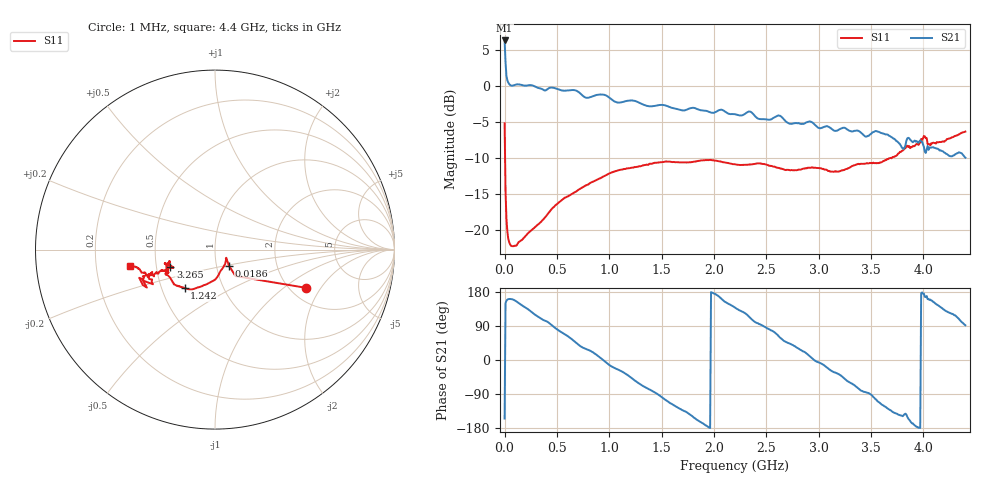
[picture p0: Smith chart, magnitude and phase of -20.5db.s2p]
# HZ S RI R 50
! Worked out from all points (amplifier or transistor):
!   501 points, 1 MHz to 4.4 GHz, reference 50 ohm
!   highest |S21| = 6.3 dB at 1 MHz (marker M1)
!   |S21| within 3 dB of that: start of sweep to 9.723 MHz
!   S11 on the Smith chart (normalised r, x): 1 MHz: 2.43, -1.49; 18.6 MHz: 1.15, -0.21; 1.242 GHz: 0.65, -0.30; 3.265 GHz: 0.59, -0.12; 4.4 GHz: 0.35, -0.08
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1000000  0.5088 -0.2133  -1.868 -0.8973  0 0  0 0
1.8596e7  0.0787 -0.0904  -1.078 0.4718  0 0  0 0
2.7394e7  0.0698 -0.0679  -1.024 0.3856  0 0  0 0
8.0182e7  0.0626 -0.0456  -0.9442 0.3512  0 0  0 0
2.73738e8  0.0519 -0.0881  -0.5511 0.8417  0 0  0 0
4.409e8  0.0229 -0.1354  -0.0704 0.973  0 0  0 0
6.25658e8  -0.0115 -0.1744  0.4908 0.7987  0 0  0 0
7.40032e8  -0.0446 -0.192  0.7187 0.4828  0 0  0 0
9.51184e8  -0.1023 -0.2137  0.8692 -0.033  0 0  0 0
1.241518e9  -0.1698 -0.2152  0.4686 -0.6358  0 0  0 0
1.470266e9  -0.2186 -0.1977  -0.0216 -0.7365  0 0  0 0
1.822186e9  -0.2623 -0.1439  -0.6342 -0.3003  0 0  0 0
2.050934e9  -0.2731 -0.1242  -0.6633 0.1567  0 0  0 0
2.2005e9  -0.27 -0.095  -0.4752 0.4252  0 0  0 0
2.358864e9  -0.2766 -0.0741  -0.196 0.6261  0 0  0 0
2.59641e9  -0.2601 -0.0793  0.222 0.5773  0 0  0 0
2.939532e9  -0.259 -0.0859  0.5579 0.0352  0 0  0 0
3.265058e9  -0.2487 -0.0943  0.2995 -0.4051  0 0  0 0
3.528998e9  -0.2644 -0.1237  -0.0776 -0.4754  0 0  0 0
3.669766e9  -0.2925 -0.1159  -0.2911 -0.3461  0 0  0 0
3.977696e9  -0.4022 -0.1502  -0.411 0.0274  0 0  0 0
4.4e9  -0.4744 -0.0914  -0.00911 0.318  0 0  0 0
